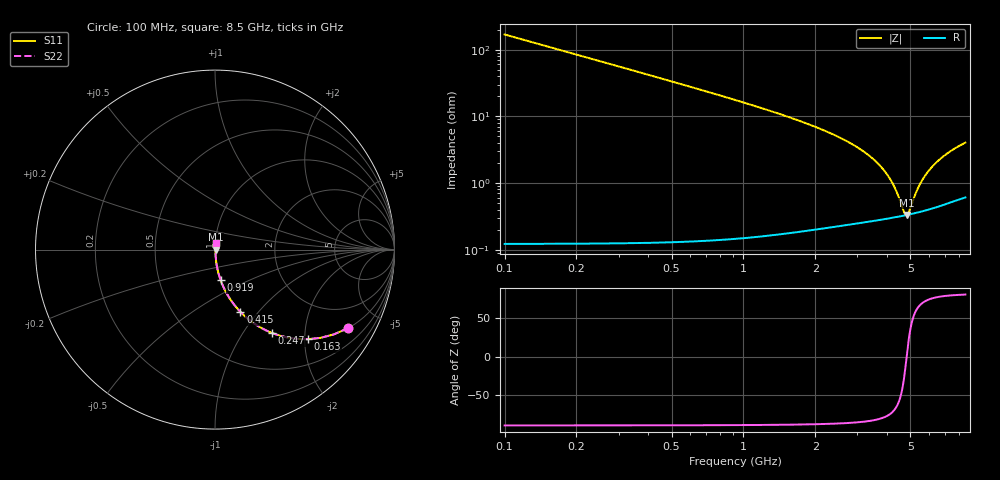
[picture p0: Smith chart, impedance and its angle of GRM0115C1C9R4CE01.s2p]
!Murata Part Number: GRM0115C1C9R4CE01
!These Parameters are Measured in Series Mode Connection
!Data Generated on Mar 30, 2021
!  o--ll--o
!Port1  Port2
!  o------o
!Operation Temp=25[degC], DC Bias Voltage=0[V]
!Freq. Start=100[MHz] Stop=9[GHz] 401[Steps]
# Hz S RI R 50
!Freq.(Hz) S11(Real) S11(Imag) S21(Real) S21(Imag) S12(Real) S12(Imag) S22(Real) S22(Imag)
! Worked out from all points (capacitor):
!   401 points, 100 MHz to 8.5 GHz, reference 50 ohm
!   read as one part in series: C = 9.4 pF near 142 MHz
!   lowest |Z| = 331 mohm at 4.825 GHz (marker M1)
!   series resonance near 4.824 GHz, so ESL is about 120 pH
!   S11 on the Smith chart (normalised r, x): 100 MHz: 1.00, -3.38; 163 MHz: 1.00, -2.07; 247 MHz: 1.00, -1.37; 415 MHz: 1.00, -0.81; 919 MHz: 1.00, -0.35; 8.5 GHz: 1.01, +0.08
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1e8  0.7411 -0.4377  0.2589 0.4377  0.2589 0.4377  0.7411 -0.4377
1.63e8  0.5184 -0.4991  0.4816 0.4991  0.4816 0.4991  0.5184 -0.4991
2.47e8  0.3188 -0.4651  0.6812 0.4651  0.6812 0.4651  0.3188 -0.4651
3.31e8  0.2063 -0.4034  0.7937 0.4034  0.7937 0.4034  0.2063 -0.4034
4.15e8  0.1415 -0.347  0.8585 0.347  0.8585 0.347  0.1415 -0.347
6.04e8  0.0717 -0.2555  0.9283 0.2555  0.9283 0.2555  0.0717 -0.2555
9.19e8  0.0317 -0.1713  0.9683 0.1713  0.9683 0.1713  0.0317 -0.1713
1.507e9  0.0118 -0.0995  0.9882 0.0995  0.9882 0.0995  0.0118 -0.0995
2.914e9  0.00375 -0.0363  0.9962 0.0363  0.9962 0.0363  0.00375 -0.0363
3.376e9  0.00327 -0.0251  0.9967 0.0251  0.9967 0.0251  0.00327 -0.0251
3.754e9  0.0031 -0.0175  0.9969 0.0175  0.9969 0.0175  0.0031 -0.0175
4.048e9  0.00308 -0.0121  0.9969 0.0121  0.9969 0.0121  0.00308 -0.0121
4.3e9  0.00311 -0.00793  0.9969 0.00793  0.9969 0.00793  0.00311 -0.00793
4.699e9  0.00324 -0.0018  0.9968 0.0018  0.9968 0.0018  0.00324 -0.0018
4.762e9  0.00327 -0.000889  0.9967 0.000889  0.9967 0.000889  0.00327 -0.000889
4.825e9  0.0033 1.37e-05  0.9967 -1.37e-05  0.9967 -1.37e-05  0.0033 1.37e-05
4.93e9  0.00336 0.00149  0.9966 -0.00149  0.9966 -0.00149  0.00336 0.00149
5.35e9  0.00364 0.0071  0.9964 -0.0071  0.9964 -0.0071  0.00364 0.0071
5.707e9  0.00394 0.0115  0.9961 -0.0115  0.9961 -0.0115  0.00394 0.0115
6.316e9  0.00457 0.0186  0.9954 -0.0186  0.9954 -0.0186  0.00457 0.0186
7.114e9  0.00559 0.0269  0.9944 -0.0269  0.9944 -0.0269  0.00559 0.0269
8.5e9  0.00759 0.0393  0.9924 -0.0393  0.9924 -0.0393  0.00759 0.0393
